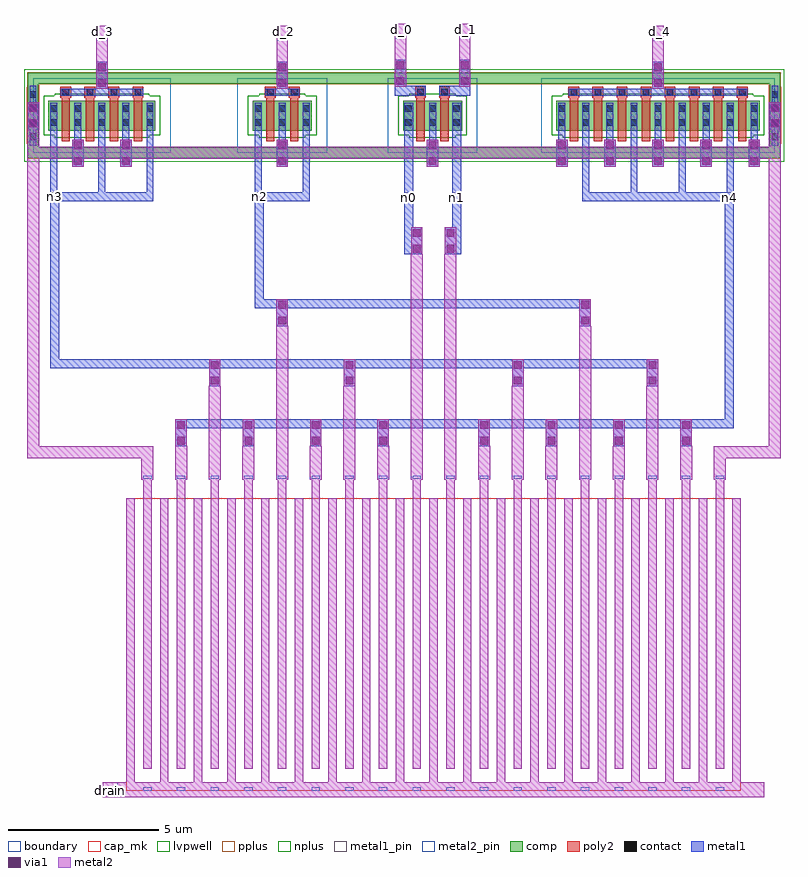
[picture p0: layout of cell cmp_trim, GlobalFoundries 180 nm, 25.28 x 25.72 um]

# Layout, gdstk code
import gdstk
lib = gdstk.Library(unit=1e-6, precision=1e-09)
def R(c, l, rs):  # rectangles x0, y0, x1, y1
    for r in rs: c.add(gdstk.rectangle(r[:2], r[2:], *l))
def A(c, l, x, y, w, h, nx, ny, dx, dy):  # array of equal rectangles
    R(c, l, [(x+i*dx, y+j*dy, x+i*dx+w, y+j*dy+h) for i in range(nx) for j in range(ny)])
boundary = (0, 0)
comp = (22, 0)
poly2 = (30, 0)
pplus = (31, 0)
nplus = (32, 0)
contact = (33, 0)
metal1 = (34, 0)
metal1_pin = (34, 10)
via1 = (35, 0)
metal2 = (36, 0)
metal2_pin = (36, 10)
cap_mk = (117, 5)
lvpwell = (204, 0)

trim_cap = lib.new_cell('trim_cap')
R(trim_cap, metal2, [(2.1,-0.72,3.5,-0.44), (2.1,-0.44,2.38,9), (2.1,-0.44,2.38,9), (3.22,-0.44,3.5,9), (3.22,-0.44,3.5,9), (2.66,0,2.94,9.75)])
R(trim_cap, metal2_pin, [(2.66,-0.72,2.94,-0.62), (2.66,9.65,2.94,9.75)])
R(trim_cap, cap_mk, [(2.1,-0.72,3.5,9)])
trim_cap.add(gdstk.Label('in', (2.8,9.7), layer=36, texttype=10))
trim_cap.add(gdstk.Label('out', (2.8,-0.67), layer=36, texttype=10))

trim_cap_array = lib.new_cell('trim_cap_array')
trim_cap_array.add(gdstk.Reference(trim_cap, (0,0)))
trim_cap_array.add(gdstk.Reference(trim_cap, (1.12,0)))
trim_cap_array.add(gdstk.Reference(trim_cap, (2.24,0)))
trim_cap_array.add(gdstk.Reference(trim_cap, (3.36,0)))
trim_cap_array.add(gdstk.Reference(trim_cap, (4.48,0)))
trim_cap_array.add(gdstk.Reference(trim_cap, (5.6,0)))
trim_cap_array.add(gdstk.Reference(trim_cap, (6.72,0)))
trim_cap_array.add(gdstk.Reference(trim_cap, (7.84,0)))
trim_cap_array.add(gdstk.Reference(trim_cap, (8.96,0)))
trim_cap_array.add(gdstk.Reference(trim_cap, (10.08,0)))
trim_cap_array.add(gdstk.Reference(trim_cap, (11.2,0)))
trim_cap_array.add(gdstk.Reference(trim_cap, (12.32,0)))
trim_cap_array.add(gdstk.Reference(trim_cap, (13.44,0)))
trim_cap_array.add(gdstk.Reference(trim_cap, (14.56,0)))
trim_cap_array.add(gdstk.Reference(trim_cap, (15.68,0)))
trim_cap_array.add(gdstk.Reference(trim_cap, (16.8,0)))
trim_cap_array.add(gdstk.Reference(trim_cap, (17.92,0)))
trim_cap_array.add(gdstk.Reference(trim_cap, (19.04,0)))

xm3 = lib.new_cell('XM3')
R(xm3, boundary, [(-3.71,-4.695,0.87,-2.215)])
R(xm3, comp, [(-3.89,-4.875,2.91,-4.515), (-3.89,-4.515,-3.53,-2.395), (-3.2,-3.955,0.36,-2.955), (-3.89,-2.395,2.91,-2.035)])
A(xm3, poly2, -2.76, -4.305, 0.28, 1.45, 4, 1, 0.8, 0)
A(xm3, poly2, -2.8, -2.855, 0.36, 0.36, 4, 1, 0.8, 0)
R(xm3, pplus, [(-3.91,-4.895,2.93,-4.495), (-3.91,-4.495,-3.5,-4.39), (-3.92,-4.39,-3.5,-2.52), (-3.91,-2.52,-3.5,-2.415), (-3.91,-2.415,2.93,-2.015)])
R(xm3, nplus, [(-2.99,-4.185,0.15,-4.115), (-3.36,-4.115,0.52,-2.795), (-2.99,-2.795,0.15,-2.725)])
A(xm3, contact, -3.82, -4.27, 0.22, 0.22, 1, 4, 0, 0.47)
A(xm3, contact, -3.13, -3.8, 0.22, 0.22, 5, 2, 0.8, 0.47)
A(xm3, contact, -2.73, -2.785, 0.22, 0.22, 4, 1, 0.8, 0)
A(xm3, metal1, -3.135, -6, 0.23, 2.98, 3, 1, 1.6, 0)
A(xm3, metal1, -2.79, -2.79, 0.34, 0.23, 4, 1, 0.8, 0)
R(xm3, metal1, [(-2.335,-4.695,-2.105,-3.02), (-0.735,-4.695,-0.505,-3.02), (-3.825,-4.455,-3.595,-2.455)])
R(xm3, lvpwell, [(-4.01,-4.995,3.03,-1.915)])

xm4 = lib.new_cell('XM4')
R(xm4, boundary, [(5.54,-5.32,13.32,-2.84)])
R(xm4, comp, [(5.36,-5.5,13.5,-5.14), (13.14,-5.14,13.5,-3.02), (6.05,-4.58,12.81,-3.58), (5.36,-3.02,13.5,-2.66)])
A(xm4, poly2, 6.49, -4.93, 0.28, 1.45, 8, 1, 0.8, 0)
A(xm4, poly2, 6.45, -3.48, 0.36, 0.36, 8, 1, 0.8, 0)
R(xm4, pplus, [(5.34,-5.52,13.52,-5.12), (13.11,-5.12,13.52,-5.015), (13.11,-5.015,13.53,-3.145), (13.11,-3.145,13.52,-3.04), (5.34,-3.04,13.52,-2.64)])
R(xm4, nplus, [(6.26,-4.81,12.6,-4.74), (5.89,-4.74,12.97,-3.42), (6.26,-3.42,12.6,-3.35)])
A(xm4, contact, 13.21, -4.895, 0.22, 0.22, 1, 4, 0, 0.47)
A(xm4, contact, 6.12, -4.425, 0.22, 0.22, 9, 2, 0.8, 0.47)
A(xm4, contact, 6.52, -3.41, 0.22, 0.22, 8, 1, 0.8, 0)
A(xm4, metal1, 6.915, -6.625, 0.23, 2.98, 4, 1, 1.6, 0)
A(xm4, metal1, 6.115, -5.32, 0.23, 1.675, 5, 1, 1.6, 0)
A(xm4, metal1, 6.46, -3.415, 0.34, 0.23, 8, 1, 0.8, 0)
R(xm4, metal1, [(13.205,-5.08,13.435,-3.08)])
R(xm4, lvpwell, [(5.24,-5.62,13.62,-2.54)])

xm2 = lib.new_cell('XM2')
R(xm2, boundary, [(-1.695,-5.4,1.285,-2.92)])
R(xm2, comp, [(-1.875,-5.58,3.125,-5.22), (-1.185,-4.66,0.775,-3.66), (-1.875,-3.1,3.125,-2.74)])
R(xm2, poly2, [(-0.745,-5.01,-0.465,-3.56), (0.055,-5.01,0.335,-3.56), (-0.785,-3.56,-0.425,-3.2), (0.015,-3.56,0.375,-3.2)])
R(xm2, pplus, [(-1.895,-5.6,3.145,-5.2), (-1.895,-3.12,3.145,-2.72)])
R(xm2, nplus, [(-0.975,-4.89,0.565,-4.82), (-1.345,-4.82,0.935,-3.5), (-0.975,-3.5,0.565,-3.43)])
A(xm2, contact, -1.115, -4.505, 0.22, 0.22, 3, 2, 0.8, 0.47)
R(xm2, contact, [(-0.715,-3.49,-0.495,-3.27), (0.085,-3.49,0.305,-3.27)])
R(xm2, metal1, [(-1.12,-6.705,-0.89,-3.725), (0.48,-6.705,0.71,-3.725), (-0.32,-5.4,-0.09,-3.725), (-0.775,-3.495,-0.435,-3.265), (0.025,-3.495,0.365,-3.265)])
R(xm2, lvpwell, [(-1.995,-5.7,3.245,-2.62)])

xm1 = lib.new_cell('XM1')
R(xm1, boundary, [(-2.24,2.175,-0.06,4.655)])
R(xm1, comp, [(-2.42,1.995,1.88,2.355), (-1.73,2.915,-0.57,3.915), (-2.42,4.475,1.88,4.835)])
R(xm1, poly2, [(-1.29,2.565,-1.01,4.015), (-1.33,4.015,-0.97,4.375)])
R(xm1, pplus, [(-2.44,1.975,1.9,2.375), (-2.44,4.455,1.9,4.855)])
R(xm1, nplus, [(-1.55,2.685,-0.78,2.755), (-1.89,2.755,-0.41,4.075), (-1.55,4.075,-0.78,4.145)])
R(xm1, contact, [(-1.66,3.07,-1.44,3.29), (-0.86,3.07,-0.64,3.29), (-1.66,3.54,-1.44,3.76), (-0.86,3.54,-0.64,3.76), (-1.26,4.085,-1.04,4.305)])
R(xm1, metal1, [(-0.9,0.87,-0.6,3.85), (-1.665,2.98,-1.435,3.85), (-1.32,4.08,-0.98,4.31)])
R(xm1, lvpwell, [(-2.54,1.875,2,4.955)])

xm0 = lib.new_cell('XM0')
R(xm0, boundary, [(-2.24,2.175,-0.06,4.655)])
R(xm0, comp, [(-2.42,1.995,0.12,2.355), (-1.73,2.915,-0.57,3.915), (-2.42,4.475,0.12,4.835)])
R(xm0, poly2, [(-1.29,2.565,-1.01,4.015), (-1.33,4.015,-0.97,4.375)])
R(xm0, pplus, [(-2.44,1.975,0.14,2.375), (-2.44,4.455,0.14,4.855)])
R(xm0, nplus, [(-1.52,2.685,-0.75,2.755), (-1.89,2.755,-0.41,4.075), (-1.52,4.075,-0.75,4.145)])
R(xm0, contact, [(-1.66,3.07,-1.44,3.29), (-0.86,3.07,-0.64,3.29), (-1.66,3.54,-1.44,3.76), (-0.86,3.54,-0.64,3.76), (-1.26,4.085,-1.04,4.305)])
R(xm0, metal1, [(-1.7,0.87,-1.4,3.85), (-0.865,2.175,-0.635,3.85), (-1.32,4.08,-0.98,4.31)])
R(xm0, lvpwell, [(-2.54,1.875,0.24,4.955)])

trim_switch = lib.new_cell('trim_switch')
A(trim_switch, metal1, 3.137, -7.95, 0.38, 0.9, 5, 1, 1.6, 0)
A(trim_switch, metal1, 3.137, -7.95, 0.23, 0.87, 5, 1, 1.6, 0)
R(trim_switch, metal1, [(-13.688,-9.095,-10.258,-8.795), (-6.888,-9.095,-5.058,-8.795), (4.012,-9.095,9.042,-8.795), (-12.963,-7.95,-12.583,-7.05), (-12.963,-7.95,-12.733,-7.08), (-11.363,-7.95,-10.983,-7.05), (-11.363,-7.95,-11.133,-7.08), (-6.163,-7.95,-5.783,-7.05), (-6.163,-7.95,-5.933,-7.08), (-1.163,-7.95,-0.783,-7.05), (-1.163,-7.95,-0.933,-7.08), (-14.453,-6.7,-14.073,-5.8), (-14.453,-6.7,-14.223,-5.83), (10.227,-6.7,10.607,-5.8), (10.227,-6.7,10.457,-5.83), (-13.343,-5.585,-10.603,-5.355), (-6.543,-5.585,-5.403,-5.355), (-2.233,-5.585,-1.203,-5.25), (-0.743,-5.585,0.287,-5.25), (3.557,-5.585,9.497,-5.355), (-12.163,-5.355,-11.783,-4.455), (-12.163,-5.355,-11.933,-4.485), (-6.163,-5.355,-5.783,-4.455), (-6.163,-5.355,-5.933,-4.485), (6.337,-5.355,6.717,-4.455), (6.337,-5.355,6.567,-4.485), (-2.233,-5.29,-1.853,-4.39), (-2.233,-5.29,-2.003,-4.42), (-0.093,-5.29,0.287,-4.39), (-0.093,-5.29,0.137,-4.42)])
A(trim_switch, via1, 3.197, -7.89, 0.26, 0.26, 5, 2, 1.6, 0.52)
R(trim_switch, via1, [(-12.903,-7.89,-12.643,-7.63), (-11.303,-7.89,-11.043,-7.63), (-6.103,-7.89,-5.843,-7.63), (-1.103,-7.89,-0.843,-7.63), (-12.903,-7.37,-12.643,-7.11), (-11.303,-7.37,-11.043,-7.11), (-6.103,-7.37,-5.843,-7.11), (-1.103,-7.37,-0.843,-7.11), (-14.393,-6.64,-14.133,-6.38), (10.287,-6.64,10.547,-6.38), (-14.393,-6.12,-14.133,-5.86), (10.287,-6.12,10.547,-5.86), (-12.103,-5.295,-11.843,-5.035), (-6.103,-5.295,-5.843,-5.035), (6.397,-5.295,6.657,-5.035), (-2.173,-5.23,-1.913,-4.97), (-0.033,-5.23,0.227,-4.97), (-12.103,-4.775,-11.843,-4.515), (-6.103,-4.775,-5.843,-4.515), (6.397,-4.775,6.657,-4.515), (-2.173,-4.71,-1.913,-4.45), (-0.033,-4.71,0.227,-4.45)])
A(trim_switch, metal2, 3.137, -7.95, 0.38, 0.9, 5, 1, 1.6, 0)
R(trim_switch, metal2, [(-14.453,-17.655,-14.063,-5.8), (10.217,-17.655,10.607,-5.8), (-12.963,-7.95,-12.583,-7.05), (-11.363,-7.95,-10.983,-7.05), (-6.163,-7.95,-5.783,-7.05), (-1.163,-7.95,-0.783,-7.05), (-14.453,-6.7,-14.073,-5.8), (10.227,-6.7,10.607,-5.8), (-12.163,-5.355,-11.783,-4.455), (-12.163,-5.355,-11.783,-3.265), (-6.163,-5.355,-5.783,-4.455), (-6.163,-5.355,-5.783,-3.265), (6.337,-5.355,6.717,-4.455), (6.337,-5.355,6.717,-3.265), (-2.233,-5.29,-1.853,-4.39), (-2.233,-5.29,-1.853,-3.2), (-0.093,-5.29,0.287,-4.39), (-0.093,-5.29,0.287,-3.2)])
trim_switch.add(gdstk.FlexPath([(-14.263,-6.25),(-14.263,-7.48),(10.417,-7.48),(10.417,-6.25)], 0.4, ends="flush", simple_path=True, layer=36, datatype=0))  # metal2
trim_switch.add(gdstk.Reference(xm3, (-10.553,-2.795)))
trim_switch.add(gdstk.Reference(xm4, (-2.903,-2.17)))
trim_switch.add(gdstk.Reference(xm2, (-5.768,-2.09)))
trim_switch.add(gdstk.Reference(xm1, (0.577,-9.665)))
trim_switch.add(gdstk.Reference(xm0, (-0.223,-9.665)))

cmp_trim = lib.new_cell('cmp_trim')
A(cmp_trim, metal1, -8.59, 6.21, 0.38, 0.9, 4, 1, 2.24, 0)
A(cmp_trim, metal1, -8.59, 6.21, 0.23, 0.87, 4, 1, 2.24, 0)
A(cmp_trim, metal1, 1.49, 6.21, 0.38, 0.9, 4, 1, 2.24, 0)
A(cmp_trim, metal1, 1.64, 6.21, 0.23, 0.87, 4, 1, 2.24, 0)
R(cmp_trim, metal1, [(-8.59,6.81,8.59,7.11), (8.59,6.81,9.98,7.11), (9.68,6.81,9.98,14.67), (-7.47,8.21,-7.09,9.11), (-7.47,8.21,-7.09,9.11), (-7.47,8.21,-7.24,9.08), (-7.47,8.21,-7.24,9.08), (-2.99,8.21,-2.61,9.11), (-2.99,8.21,-2.76,9.08), (2.61,8.21,2.99,9.11), (2.76,8.21,2.99,9.08), (7.09,8.21,7.47,9.11), (7.09,8.21,7.47,9.11), (7.24,8.21,7.47,9.08), (7.24,8.21,7.47,9.08), (-12.75,8.81,-12.45,14.67), (-12.75,8.81,-6,9.11), (-7.47,8.81,7.47,9.11), (-5.23,10.21,-4.85,11.11), (-5.23,10.21,-5,11.08), (4.85,10.21,5.23,11.11), (5,10.21,5.23,11.08), (-5.95,10.81,-4.85,11.11), (-5.95,10.81,-5.65,14.67), (-5.23,10.81,5.23,11.11), (-0.985,12.6,-0.685,15.675), (-0.75,12.6,-0.37,13.5), (-0.75,12.6,-0.52,13.47), (0.37,12.6,0.75,13.5), (0.52,12.6,0.75,13.47), (0.615,12.6,0.915,15.675)])
R(cmp_trim, metal1_pin, [(-12.75,14.37,-12.45,14.67), (-5.95,14.37,-5.65,14.67), (-0.985,14.37,-0.685,14.67), (0.615,14.37,0.915,14.67), (9.68,14.37,9.98,14.67)])
A(cmp_trim, via1, -8.53, 6.27, 0.26, 0.26, 4, 2, 2.24, 0.52)
A(cmp_trim, via1, 1.55, 6.27, 0.26, 0.26, 4, 2, 2.24, 0.52)
R(cmp_trim, via1, [(-7.41,8.27,-7.15,8.53), (-7.41,8.27,-7.15,8.53), (-2.93,8.27,-2.67,8.53), (2.67,8.27,2.93,8.53), (7.15,8.27,7.41,8.53), (7.15,8.27,7.41,8.53), (-7.41,8.79,-7.15,9.05), (-7.41,8.79,-7.15,9.05), (-2.93,8.79,-2.67,9.05), (2.67,8.79,2.93,9.05), (7.15,8.79,7.41,9.05), (7.15,8.79,7.41,9.05), (-5.17,10.27,-4.91,10.53), (4.91,10.27,5.17,10.53), (-5.17,10.79,-4.91,11.05), (4.91,10.79,5.17,11.05), (-0.69,12.66,-0.43,12.92), (0.43,12.66,0.69,12.92), (-0.69,13.18,-0.43,13.44), (0.43,13.18,0.69,13.44)])
A(cmp_trim, metal2, -8.6, 5.1, 0.4, 1.11, 4, 1, 2.24, 0)
A(cmp_trim, metal2, 1.48, 5.1, 0.4, 1.11, 4, 1, 2.24, 0)
A(cmp_trim, metal2, -8.59, 6.21, 0.38, 0.9, 4, 1, 2.24, 0)
A(cmp_trim, metal2, 1.49, 6.21, 0.38, 0.9, 4, 1, 2.24, 0)
R(cmp_trim, metal2, [(-11,-5.455,11,-4.955), (-9.72,5.1,-9.32,6.21), (-7.48,5.1,-7.08,8.21), (-5.24,5.1,-4.84,10.21), (-3,5.1,-2.6,8.21), (-0.76,5.1,-0.36,12.6), (0.36,5.1,0.76,12.6), (2.6,5.1,3,8.21), (4.84,5.1,5.24,10.21), (7.08,5.1,7.48,8.21), (9.32,5.1,9.72,6.21), (-13.515,5.81,-9.32,6.21), (9.32,5.81,11.545,6.21), (-7.47,8.21,-7.09,9.11), (-7.47,8.21,-7.09,9.11), (-2.99,8.21,-2.61,9.11), (2.61,8.21,2.99,9.11), (7.09,8.21,7.47,9.11), (7.09,8.21,7.47,9.11), (-5.23,10.21,-4.85,11.11), (4.85,10.21,5.23,11.11), (-0.75,12.6,-0.37,13.5), (0.37,12.6,0.75,13.5)])
R(cmp_trim, metal2_pin, [(-11,-5.455,-10.5,-4.955), (-11.225,19.7,-10.845,20.2), (-5.225,19.7,-4.845,20.2), (7.275,19.7,7.655,20.2), (-1.295,19.765,-0.915,20.265), (0.845,19.765,1.225,20.265)])
cmp_trim.add(gdstk.Reference(trim_cap_array, (-12.32,-4.515)))
cmp_trim.add(gdstk.Reference(trim_switch, (0.938,23.465)))
cmp_trim.add(gdstk.Label('d_4', (7.5,20), layer=36, texttype=10))
cmp_trim.add(gdstk.Label('d_1', (1.07,20.065), layer=36, texttype=10))
cmp_trim.add(gdstk.Label('d_0', (-1.07,20.065), layer=36, texttype=10))
cmp_trim.add(gdstk.Label('d_2', (-5,20), layer=36, texttype=10))
cmp_trim.add(gdstk.Label('d_3', (-11,20), layer=36, texttype=10))
cmp_trim.add(gdstk.Label('drain', (-10.75,-5.25), layer=36, texttype=10))
cmp_trim.add(gdstk.Label('n4', (9.83,14.5), layer=34, texttype=10))
cmp_trim.add(gdstk.Label('n1', (0.765,14.5), layer=34, texttype=10))
cmp_trim.add(gdstk.Label('n0', (-0.835,14.5), layer=34, texttype=10))
cmp_trim.add(gdstk.Label('n2', (-5.8,14.53), layer=34, texttype=10))
cmp_trim.add(gdstk.Label('n3', (-12.6,14.53), layer=34, texttype=10))

lib.write_gds('cmp_trim.gds')
